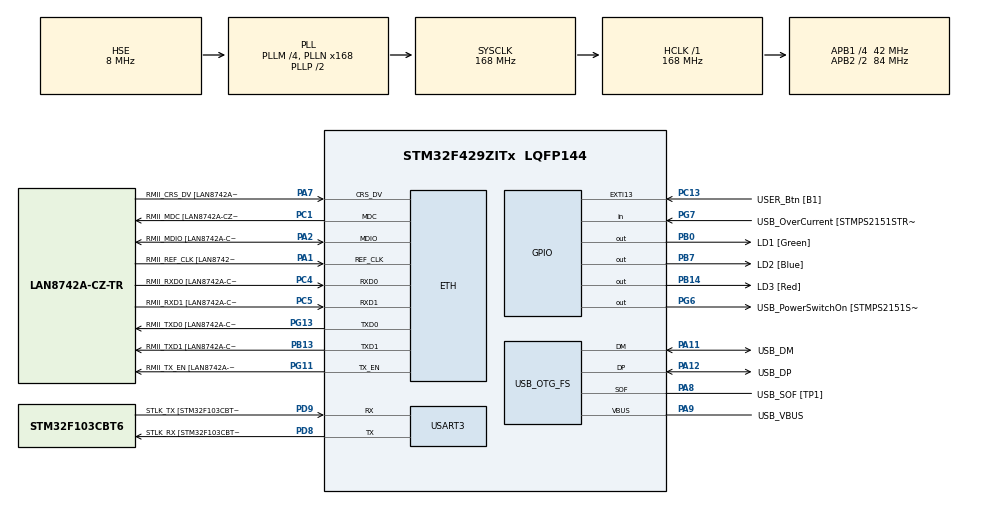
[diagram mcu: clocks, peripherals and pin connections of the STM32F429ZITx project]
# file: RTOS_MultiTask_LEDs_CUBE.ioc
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ETH.MediaInterface=HAL_ETH_RMII_MODE
ETH.PHY_Name=LAN8742A_PHY_ADDRESS
ETH.PHY_Value=0
ETH.PhyAddress=0
FREERTOS.Tasks01=GreenTask,8,128,StartGreenTask,Default,NULL,Dynamic,NULL,NULL;BlueTask,9,128,StartBlueTask,Default,NULL,Dynamic,NULL,NULL;RedTask,10,128,StartRedTask,Default,NULL,Dynamic,NULL,NULL
FREERTOS.configGENERATE_RUN_TIME_STATS=1
FREERTOS.configRECORD_STACK_HIGH_ADDRESS=1
FREERTOS.configUSE_NEWLIB_REENTRANT=1
FREERTOS.configUSE_STATS_FORMATTING_FUNCTIONS=1
Mcu.Family=STM32F4
Mcu.Name=STM32F429ZITx
Mcu.Package=LQFP144
NVIC.PriorityGroup=NVIC_PRIORITYGROUP_4
NVIC.TIM6_DAC_IRQn=true\:15\:0\:false\:false\:true\:false\:false\:true\:true
NVIC.TimeBase=TIM6_DAC_IRQn
NVIC.TimeBaseIP=TIM6
PA1.GPIO_Label=RMII_REF_CLK [LAN8742A-CZ-TR_REFCLK0]
PA1.Mode=RMII
PA1.Signal=ETH_REF_CLK
PA10.GPIO_Label=USB_ID
PA10.Signal=USB_OTG_FS_ID
PA11.GPIO_Label=USB_DM
PA11.Mode=Device_Only
PA11.Signal=USB_OTG_FS_DM
PA12.GPIO_Label=USB_DP
PA12.Mode=Device_Only
PA12.Signal=USB_OTG_FS_DP
PA13.GPIO_Label=TMS
PA13.Mode=Serial_Wire
PA13.Signal=SYS_JTMS-SWDIO
PA14.GPIO_Label=TCK
PA14.Mode=Serial_Wire
PA14.Signal=SYS_JTCK-SWCLK
PA2.GPIO_Label=RMII_MDIO [LAN8742A-CZ-TR_MDIO]
PA2.Mode=RMII
PA2.Signal=ETH_MDIO
PA7.GPIO_Label=RMII_CRS_DV [LAN8742A-CZ-TR_CRS_DV]
PA7.Mode=RMII
PA7.Signal=ETH_CRS_DV
PA8.GPIO_Label=USB_SOF [TP1]
PA8.Mode=Activate_SOF_FS
PA8.Signal=USB_OTG_FS_SOF
PA9.GPIO_Label=USB_VBUS
PA9.Mode=Activate_VBUS
PA9.Signal=USB_OTG_FS_VBUS
PB0.GPIO_Label=LD1 [Green]
PB0.Signal=GPIO_Output
PB13.GPIO_Label=RMII_TXD1 [LAN8742A-CZ-TR_TXD1]
PB13.Mode=RMII
PB13.Signal=ETH_TXD1
PB14.GPIO_Label=LD3 [Red]
PB14.Signal=GPIO_Output
PB7.GPIO_Label=LD2 [Blue]
PB7.Signal=GPIO_Output
PC1.GPIO_Label=RMII_MDC [LAN8742A-CZ-TR_MDC]
PC1.Mode=RMII
PC1.Signal=ETH_MDC
PC13.GPIO_Label=USER_Btn [B1]
PC13.Signal=GPXTI13
PC14/OSC32_IN.Mode=LSE-External-Oscillator
PC14/OSC32_IN.Signal=RCC_OSC32_IN
PC15/OSC32_OUT.Mode=LSE-External-Oscillator
PC15/OSC32_OUT.Signal=RCC_OSC32_OUT
PC4.GPIO_Label=RMII_RXD0 [LAN8742A-CZ-TR_RXD0]
PC4.Mode=RMII
PC4.Signal=ETH_RXD0
PC5.GPIO_Label=RMII_RXD1 [LAN8742A-CZ-TR_RXD1]
PC5.Mode=RMII
PC5.Signal=ETH_RXD1
PD8.GPIO_Label=STLK_RX [STM32F103CBT6_PA3]
PD8.Mode=Asynchronous
PD8.Signal=USART3_TX
PD9.GPIO_Label=STLK_TX [STM32F103CBT6_PA2]
PD9.Mode=Asynchronous
PD9.Signal=USART3_RX
PG11.GPIO_Label=RMII_TX_EN [LAN8742A-CZ-TR_TXEN]
PG11.Mode=RMII
PG11.Signal=ETH_TX_EN
PG13.GPIO_Label=RMII_TXD0 [LAN8742A-CZ-TR_TXD0]
PG13.Mode=RMII
PG13.Signal=ETH_TXD0
PG6.GPIO_Label=USB_PowerSwitchOn [STMPS2151STR_EN]
PG6.Signal=GPIO_Output
PG7.GPIO_Label=USB_OverCurrent [STMPS2151STR_FAULT]
PG7.Signal=GPIO_Input
PH0/OSC_IN.GPIO_Label=MCO [STM32F103CBT6_PA8]
PH0/OSC_IN.Mode=HSE-External-Clock-Source
PH0/OSC_IN.Signal=RCC_OSC_IN
PH1/OSC_OUT.Mode=HSE-External-Clock-Source
PH1/OSC_OUT.Signal=RCC_OSC_OUT
ProjectManager.HeapSize=0x200
ProjectManager.StackSize=0x400
ProjectManager.TargetToolchain=STM32CubeIDE
RCC.48MHZClocksFreq_Value=48000000
RCC.AHBFreq_Value=168000000
RCC.APB1CLKDivider=RCC_HCLK_DIV4
RCC.APB1Freq_Value=42000000
RCC.APB1TimFreq_Value=84000000
RCC.APB2CLKDivider=RCC_HCLK_DIV2
RCC.APB2Freq_Value=84000000
RCC.APB2TimCLKDivider=2
RCC.APB2TimFreq_Value=168000000
RCC.CortexFreq_Value=168000000
RCC.HCLKFreq_Value=168000000
RCC.HSE_VALUE=8000000
RCC.HSI_VALUE=16000000
RCC.PLLM=4
RCC.PLLMUL=RCC_PLL_MUL9
RCC.PLLN=168
RCC.PLLQ=7
RCC.PRESCALERUSB=RCC_USBCLKSOURCE_PLL_DIV1_5
RCC.SYSCLKFreq_VALUE=168000000
RCC.SYSCLKSource=RCC_SYSCLKSOURCE_PLLCLK
RCC.SYSCLKSourceVirtual=RCC_SYSCLKSOURCE_PLLCLK
RCC.USBFreq_Value=48000000
RCC.VCOOutputFreq_Value=336000000
USART3.VirtualMode=VM_ASYNC
USB_OTG_FS.VirtualMode=Device_Only
VP_FREERTOS_VS_CMSIS_V2.Mode=CMSIS_V2
VP_SYS_VS_tim6.Mode=TIM6
board=NUCLEO-F429ZI

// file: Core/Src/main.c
/* USER CODE BEGIN Header */
/**
 ******************************************************************************
 * @file           : main.c
 * @brief          : Main program body
 ******************************************************************************
 * @attention
 *
 * Copyright (c) 2025 STMicroelectronics.
 * All rights reserved.
 *
 * This software is licensed under terms that can be found in the LICENSE file
 * in the root directory of this software component.
 * If no LICENSE file comes with this software, it is provided AS-IS.
 *
 ******************************************************************************
 */
/* USER CODE END Header */
#include "main.h"
#include "string.h"
#include "cmsis_os.h"

/* USER CODE BEGIN Includes */
#include "stdio.h"
/* USER CODE END Includes */

ETH_TxPacketConfig TxConfig;
ETH_DMADescTypeDef  DMARxDscrTab[ETH_RX_DESC_CNT]; /* Ethernet Rx DMA Descriptors */
ETH_DMADescTypeDef  DMATxDscrTab[ETH_TX_DESC_CNT]; /* Ethernet Tx DMA Descriptors */

ETH_HandleTypeDef heth;

UART_HandleTypeDef huart3;

PCD_HandleTypeDef hpcd_USB_OTG_FS;

/* Definitions for GreenTask */
osThreadId_t GreenTaskHandle;
const osThreadAttr_t GreenTask_attributes = {
  .name = "GreenTask",
  .stack_size = 128 * 4,
  .priority = (osPriority_t) osPriorityLow,
};
/* Definitions for BlueTask */
osThreadId_t BlueTaskHandle;
const osThreadAttr_t BlueTask_attributes = {
  .name = "BlueTask",
  .stack_size = 128 * 4,
  .priority = (osPriority_t) osPriorityLow1,
};
/* Definitions for RedTask */
osThreadId_t RedTaskHandle;
const osThreadAttr_t RedTask_attributes = {
  .name = "RedTask",
  .stack_size = 128 * 4,
  .priority = (osPriority_t) osPriorityLow2,
};

void SystemClock_Config(void);
static void MX_GPIO_Init(void);
static void MX_ETH_Init(void);
static void MX_USART3_UART_Init(void);
static void MX_USB_OTG_FS_PCD_Init(void);
void StartGreenTask(void *argument);
void StartBlueTask(void *argument);
void StartRedTask(void *argument);

/* USER CODE BEGIN 0 */
int _write(int file, char *ptr, int len) {
	int DataIdx;
	HAL_StatusTypeDef status = HAL_UART_Transmit(&huart3, (uint8_t*)ptr, len, 100);
	for (DataIdx = 0; DataIdx < len; DataIdx++) {
		//__io_putchar(*ptr++);
		ITM_SendChar(*ptr++);
	}
	return (status == HAL_OK ? len : 0);
}

/* USER CODE END 0 */

int main(void)
{

  /* MCU Configuration--------------------------------------------------------*/

  /* Reset of all peripherals, Initializes the Flash interface and the Systick. */
  HAL_Init();

  /* Configure the system clock */
  SystemClock_Config();

  /* Initialize all configured peripherals */
  MX_GPIO_Init();
  MX_ETH_Init();
  MX_USART3_UART_Init();
  MX_USB_OTG_FS_PCD_Init();

  /* Init scheduler */
  osKernelInitialize();

  /* Create the thread(s) */
  /* creation of GreenTask */
  GreenTaskHandle = osThreadNew(StartGreenTask, NULL, &GreenTask_attributes);

  /* creation of BlueTask */
  BlueTaskHandle = osThreadNew(StartBlueTask, NULL, &BlueTask_attributes);

  /* creation of RedTask */
  RedTaskHandle = osThreadNew(StartRedTask, NULL, &RedTask_attributes);

  /* Start scheduler */
  osKernelStart();
  /* We should never get here as control is now taken by the scheduler */
  /* Infinite loop */
	while (1) {

	}
}

void SystemClock_Config(void)
{
  RCC_OscInitTypeDef RCC_OscInitStruct = {0};
  RCC_ClkInitTypeDef RCC_ClkInitStruct = {0};

  /** Configure the main internal regulator output voltage
  */
  __HAL_RCC_PWR_CLK_ENABLE();
  __HAL_PWR_VOLTAGESCALING_CONFIG(PWR_REGULATOR_VOLTAGE_SCALE1);

  /** Initializes the RCC Oscillators according to the specified parameters
  * in the RCC_OscInitTypeDef structure.
  */
  RCC_OscInitStruct.OscillatorType = RCC_OSCILLATORTYPE_HSE;
  RCC_OscInitStruct.HSEState = RCC_HSE_BYPASS;
  RCC_OscInitStruct.PLL.PLLState = RCC_PLL_ON;
  RCC_OscInitStruct.PLL.PLLSource = RCC_PLLSOURCE_HSE;
  RCC_OscInitStruct.PLL.PLLM = 4;
  RCC_OscInitStruct.PLL.PLLN = 168;
  RCC_OscInitStruct.PLL.PLLP = RCC_PLLP_DIV2;
  RCC_OscInitStruct.PLL.PLLQ = 7;
  if (HAL_RCC_OscConfig(&RCC_OscInitStruct) != HAL_OK)
  {
    Error_Handler();
  }

  /** Initializes the CPU, AHB and APB buses clocks
  */
  RCC_ClkInitStruct.ClockType = RCC_CLOCKTYPE_HCLK|RCC_CLOCKTYPE_SYSCLK
                              |RCC_CLOCKTYPE_PCLK1|RCC_CLOCKTYPE_PCLK2;
  RCC_ClkInitStruct.SYSCLKSource = RCC_SYSCLKSOURCE_PLLCLK;
  RCC_ClkInitStruct.AHBCLKDivider = RCC_SYSCLK_DIV1;
  RCC_ClkInitStruct.APB1CLKDivider = RCC_HCLK_DIV4;
  RCC_ClkInitStruct.APB2CLKDivider = RCC_HCLK_DIV2;

  if (HAL_RCC_ClockConfig(&RCC_ClkInitStruct, FLASH_LATENCY_5) != HAL_OK)
  {
    Error_Handler();
  }
}

static void MX_ETH_Init(void)
{

   static uint8_t MACAddr[6];

  heth.Instance = ETH;
  MACAddr[0] = 0x00;
  MACAddr[1] = 0x80;
  MACAddr[2] = 0xE1;
  MACAddr[3] = 0x00;
  MACAddr[4] = 0x00;
  MACAddr[5] = 0x00;
  heth.Init.MACAddr = &MACAddr[0];
  heth.Init.MediaInterface = HAL_ETH_RMII_MODE;
  heth.Init.TxDesc = DMATxDscrTab;
  heth.Init.RxDesc = DMARxDscrTab;
  heth.Init.RxBuffLen = 1524;

  if (HAL_ETH_Init(&heth) != HAL_OK)
  {
    Error_Handler();
  }

  memset(&TxConfig, 0 , sizeof(ETH_TxPacketConfig));
  TxConfig.Attributes = ETH_TX_PACKETS_FEATURES_CSUM | ETH_TX_PACKETS_FEATURES_CRCPAD;
  TxConfig.ChecksumCtrl = ETH_CHECKSUM_IPHDR_PAYLOAD_INSERT_PHDR_CALC;
  TxConfig.CRCPadCtrl = ETH_CRC_PAD_INSERT;

}

static void MX_USART3_UART_Init(void)
{

  huart3.Instance = USART3;
  huart3.Init.BaudRate = 115200;
  huart3.Init.WordLength = UART_WORDLENGTH_8B;
  huart3.Init.StopBits = UART_STOPBITS_1;
  huart3.Init.Parity = UART_PARITY_NONE;
  huart3.Init.Mode = UART_MODE_TX_RX;
  huart3.Init.HwFlowCtl = UART_HWCONTROL_NONE;
  huart3.Init.OverSampling = UART_OVERSAMPLING_16;
  if (HAL_UART_Init(&huart3) != HAL_OK)
  {
    Error_Handler();
  }

}

static void MX_USB_OTG_FS_PCD_Init(void)
{

  hpcd_USB_OTG_FS.Instance = USB_OTG_FS;
  hpcd_USB_OTG_FS.Init.dev_endpoints = 4;
  hpcd_USB_OTG_FS.Init.speed = PCD_SPEED_FULL;
  hpcd_USB_OTG_FS.Init.dma_enable = DISABLE;
  hpcd_USB_OTG_FS.Init.phy_itface = PCD_PHY_EMBEDDED;
  hpcd_USB_OTG_FS.Init.Sof_enable = ENABLE;
  hpcd_USB_OTG_FS.Init.low_power_enable = DISABLE;
  hpcd_USB_OTG_FS.Init.lpm_enable = DISABLE;
  hpcd_USB_OTG_FS.Init.vbus_sensing_enable = ENABLE;
  hpcd_USB_OTG_FS.Init.use_dedicated_ep1 = DISABLE;
  if (HAL_PCD_Init(&hpcd_USB_OTG_FS) != HAL_OK)
  {
    Error_Handler();
  }

}

static void MX_GPIO_Init(void)
{
  GPIO_InitTypeDef GPIO_InitStruct = {0};

  /* GPIO Ports Clock Enable */
  __HAL_RCC_GPIOC_CLK_ENABLE();
  __HAL_RCC_GPIOH_CLK_ENABLE();
  __HAL_RCC_GPIOA_CLK_ENABLE();
  __HAL_RCC_GPIOB_CLK_ENABLE();
  __HAL_RCC_GPIOD_CLK_ENABLE();
  __HAL_RCC_GPIOG_CLK_ENABLE();

  /*Configure GPIO pin Output Level */
  HAL_GPIO_WritePin(GPIOB, LD1_Pin|LD3_Pin|LD2_Pin, GPIO_PIN_RESET);

  /*Configure GPIO pin Output Level */
  HAL_GPIO_WritePin(USB_PowerSwitchOn_GPIO_Port, USB_PowerSwitchOn_Pin, GPIO_PIN_RESET);

  /*Configure GPIO pin : USER_Btn_Pin */
  GPIO_InitStruct.Pin = USER_Btn_Pin;
  GPIO_InitStruct.Mode = GPIO_MODE_IT_RISING;
  GPIO_InitStruct.Pull = GPIO_NOPULL;
  HAL_GPIO_Init(USER_Btn_GPIO_Port, &GPIO_InitStruct);

  /*Configure GPIO pins : LD1_Pin LD3_Pin LD2_Pin */
  GPIO_InitStruct.Pin = LD1_Pin|LD3_Pin|LD2_Pin;
  GPIO_InitStruct.Mode = GPIO_MODE_OUTPUT_PP;
  GPIO_InitStruct.Pull = GPIO_NOPULL;
  GPIO_InitStruct.Speed = GPIO_SPEED_FREQ_LOW;
  HAL_GPIO_Init(GPIOB, &GPIO_InitStruct);

  /*Configure GPIO pin : USB_PowerSwitchOn_Pin */
  GPIO_InitStruct.Pin = USB_PowerSwitchOn_Pin;
  GPIO_InitStruct.Mode = GPIO_MODE_OUTPUT_PP;
  GPIO_InitStruct.Pull = GPIO_NOPULL;
  GPIO_InitStruct.Speed = GPIO_SPEED_FREQ_LOW;
  HAL_GPIO_Init(USB_PowerSwitchOn_GPIO_Port, &GPIO_InitStruct);

  /*Configure GPIO pin : USB_OverCurrent_Pin */
  GPIO_InitStruct.Pin = USB_OverCurrent_Pin;
  GPIO_InitStruct.Mode = GPIO_MODE_INPUT;
  GPIO_InitStruct.Pull = GPIO_NOPULL;
  HAL_GPIO_Init(USB_OverCurrent_GPIO_Port, &GPIO_InitStruct);

}

void StartGreenTask(void *argument)
{
  /* USER CODE BEGIN 5 */
	/* 20 SECOND on then deletes itself*/
	int jGreenTaskIteration = 0;
	for (;;) {
		HAL_GPIO_WritePin(GPIOB, GPIO_PIN_0, 1);	// turn ON Green LED
		osDelay(20000);								// wait 20 seconds
		HAL_GPIO_WritePin(GPIOB, GPIO_PIN_0, 0);	// turn OFF Green LED
		printf("GreenTaskHandle iteration: %d\n", ++jGreenTaskIteration);
		printf("Green Task will now delete itself, goodbye.\n");
		vTaskDelete(NULL);							// Delete task(self)
	}
  /* USER CODE END 5 */
}

void StartBlueTask(void *argument)
{
  /* USER CODE BEGIN StartBlueTask */
	/* Infinite loop */
	int jBlueTaskIteration = 0;
	for (;;) {
		printf("BlueTaskHandle iteration: %d\n", ++jBlueTaskIteration);
		HAL_GPIO_TogglePin(GPIOB, GPIO_PIN_7);	// BLUE
		osDelay(500);
	}
  /* USER CODE END StartBlueTask */
}

void StartRedTask(void *argument)
{
  /* USER CODE BEGIN StartRedTask */
	/* Infinite loop */
	int jRedTaskIteration = 0;
	for (;;) {
		HAL_GPIO_TogglePin(GPIOB, GPIO_PIN_14);	// RED
		osDelay(500);
		printf("RedTaskHandle iteration: %d\n", ++jRedTaskIteration);
		if (jRedTaskIteration == 20) {
			printf("RedTaskHandle iteration reach 20th iteration\n");
			printf("RedTaskHandle will now delete the Blue Task, sayonara!\n");
			vTaskDelete(BlueTaskHandle);
		}
	}
  /* USER CODE END StartRedTask */
}

void HAL_TIM_PeriodElapsedCallback(TIM_HandleTypeDef *htim)
{
  if (htim->Instance == TIM6) {
    HAL_IncTick();
  }
}

void Error_Handler(void)
{
	__disable_irq();
	while (1) {
	}
}

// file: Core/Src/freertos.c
/* USER CODE BEGIN Header */
/**
 ******************************************************************************
 * File Name          : freertos.c
 * Description        : Code for freertos applications
 ******************************************************************************
 * @attention
 *
 * Copyright (c) 2025 STMicroelectronics.
 * All rights reserved.
 *
 * This software is licensed under terms that can be found in the LICENSE file
 * in the root directory of this software component.
 * If no LICENSE file comes with this software, it is provided AS-IS.
 *
 ******************************************************************************
 */
/* USER CODE END Header */

#include "FreeRTOS.h"
#include "task.h"
#include "main.h"

/* Hook prototypes */
void configureTimerForRunTimeStats(void);
unsigned long getRunTimeCounterValue(void);

/* USER CODE BEGIN 1 */
/* Functions needed when configGENERATE_RUN_TIME_STATS is on */
__weak void configureTimerForRunTimeStats(void) {
	CoreDebug->DEMCR |= CoreDebug_DEMCR_TRCENA_Msk;
	DWT->CTRL |= 1;
	DWT->CYCCNT = 0;
}

__weak unsigned long getRunTimeCounterValue(void) {
	return DWT->CYCCNT;
}
/* USER CODE END 1 */
